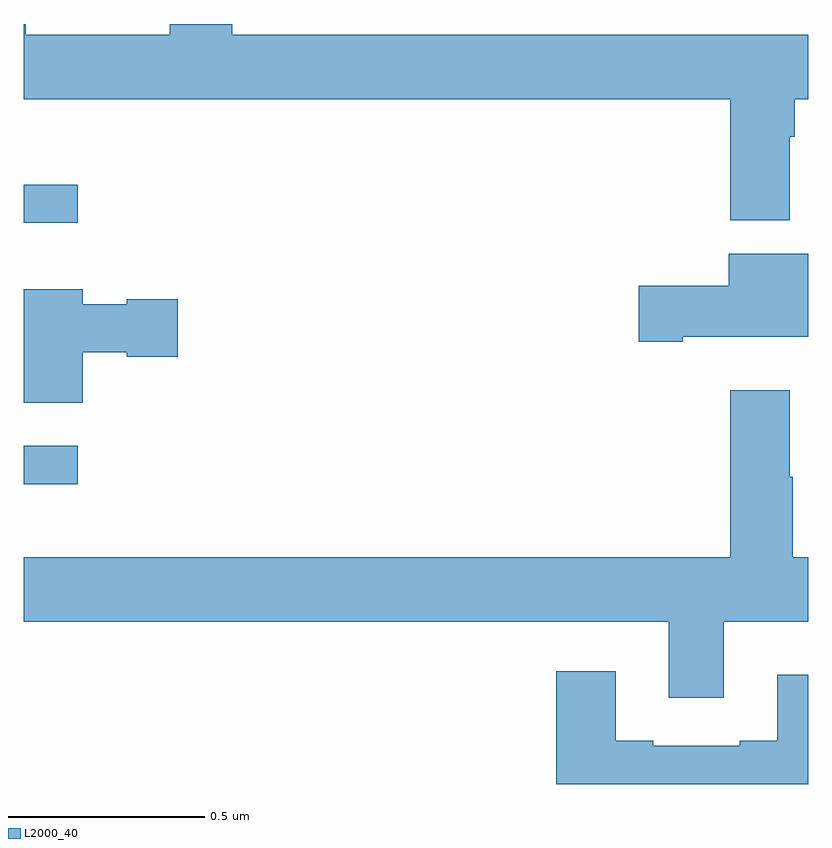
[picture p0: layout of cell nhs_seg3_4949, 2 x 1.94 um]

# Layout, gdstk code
import gdstk
lib = gdstk.Library(unit=1e-6, precision=1e-09)
def R(c, l, rs):  # rectangles x0, y0, x1, y1
    for r in rs: c.add(gdstk.rectangle(r[:2], r[2:], *l))
def P(c, l, *ps):  # polygons
    for p in ps: c.add(gdstk.Polygon(p, *l))
L2000_40 = (2000, 40)

nhs_seg3_4949 = lib.new_cell('nhs_seg3_4949')
R(nhs_seg3_4949, L2000_40, [(172,741.227,172.138,741.324), (172,741.893,172.138,741.99)])
P(nhs_seg3_4949, L2000_40, [(173.953,742.112),(173.966,742.112),(173.966,742.208),(174,742.208),(174,742.372),(172.532,742.372),(172.532,742.4),(172.372,742.4),(172.372,742.372),(172.005,742.372),(172.005,742.4),(172,742.4),(172,742.208),(173.801,742.208),(173.801,741.899),(173.953,741.899)],
  [(173.68,741.602),(174,741.602),(174,741.814),(173.798,741.814),(173.798,741.732),(173.568,741.732),(173.568,741.59),(173.68,741.59)],
  [(172.15,741.563),(172.263,741.563),(172.263,741.551),(172.393,741.551),(172.393,741.698),(172.263,741.698),(172.263,741.685),(172.15,741.685),(172.15,741.724),(172,741.724),(172,741.434),(172.15,741.434)],
  [(173.785,740.876),(174,740.876),(174,741.04),(173.961,741.04),(173.961,741.245),(173.953,741.245),(173.953,741.466),(173.801,741.466),(173.801,741.04),(172,741.04),(172,740.876),(173.645,740.876),(173.645,740.682),(173.785,740.682)],
  [(174,740.74),(173.921,740.74),(173.921,740.572),(173.825,740.572),(173.825,740.559),(173.605,740.559),(173.605,740.572),(173.509,740.572),(173.509,740.749),(173.357,740.749),(173.357,740.462),(174,740.462)])

lib.write_gds('nhs_seg3_4949.gds')
